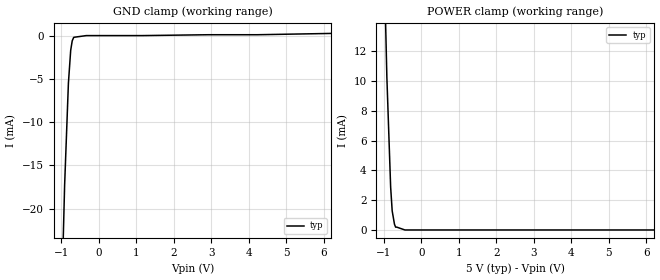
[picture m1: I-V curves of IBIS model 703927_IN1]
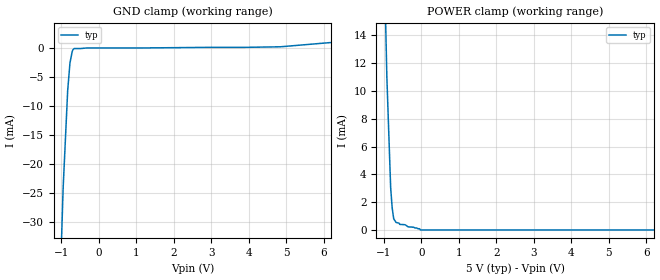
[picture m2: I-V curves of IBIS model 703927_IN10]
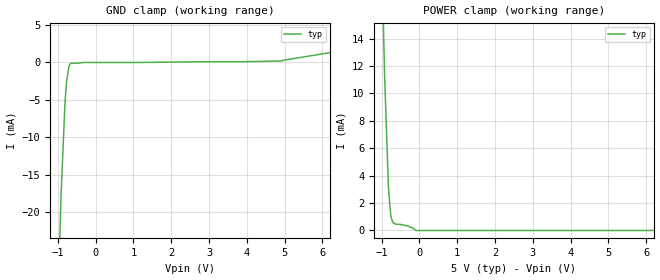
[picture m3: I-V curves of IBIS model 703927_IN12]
| YOU ARE ONLY AUTHORIZED TO USE THIS SOFTWARE
| ACCORDING TO LICENSOR'S LICENSE RESTRICTIONS.
[IBIS Ver] 3.1
[File Name] mc10ep195fa_5v_ecl.ibs
[File Rev] 2.0
[Source] Measured and created by ICX Technology
[Date] Friday 6/1/01 3:31:12 PM
[Copyright]
| (C) COPYRIGHT 1993-2001
| MENTOR GRAPHICS CORPORATION
| ICX STANDARD LIBRARY, ICX PROJECT MODELING,
| ICX CUSTOM MODELING, ICX VENDOR MODEL
| ALL RIGHTS RESERVED.
| THE FOLLOWING ARE TRADEMARKS OR SERVICE MARKS OF
| MENTOR GRAPHICS CORPORATION:ICX (R), ICX STANDARD
| LIBRARY(R), ICX PROJECT MODELING(R), ICX CUSTOM
| MODELING(R), qualityIBIS(TM), MODELVIEWER(TM),
| AND MODELEDITOR(TM)
| ALL COPIES OF SOFTWARE, INCLUDING BUT NOT LIMITED TO
| ANY MODIFICATIONS, ENHANCEMENTS OR DERIVATIVE WORKS,
| MUST CONTAIN ALL MENTOR GRAPHICS CORPORATION'S
| NOTICES AND LEGENDS, INCLUDING THOSE EMBEDDED IN
| SOFTWARE AND THOSE AFFIXED TO SOFTWARE MEDIUM
| AND CONTAINER, AS RECEIVED FROM MENTOR GRAPHICS
| CORPORATION.
|  ZAP Model Builder 3.1
[Component] MC10EP195FA_5v_ECL
[Manufacturer] OnSemico
[Package]
| variable   typ   min   max
R_pkg  .067ohms NA NA
L_pkg  4.211nH NA NA
C_pkg  1.002pF NA NA
[Pin] signal_name  model_name  R_pin  L_pin C_pin
1 D8 703927_IN1 .065 3.973n .928p
2 D9 703927_IN2 .066 4.127n .978p
3 D10 703927_IN1 .068 4.288n 1.027p
4 IN 703927_IN4 .069 4.455n 1.077p
5 _IN 703927_IN4 .069 4.455n 1.077p
6 VBB POWER .068 4.288n 1.027p
7 VEF NC .066 4.127n .978p
8 VCF NC .065 3.973n .928p
9 VEE GND .065 3.973n .928p
10 LEN 703927_IN10 .066 4.127n .978p
11 SETMIN 703927_IN12 .068 4.288n 1.027p
12 SETMAX 703927_IN12 .069 4.455n 1.077p
13 VCC POWER .069 4.455n 1.077p
14 _CASCADE 703927_OUT14 .068 4.288n 1.027p
15 CASCADE 703927_OUT14 .066 4.127n .978p
16 _EN 703927_IN16 .065 3.973n .928p
17 NC NC .065 3.973n .928p
18 VCC POWER .066 4.127n .978p
19 VCC POWER .068 4.288n 1.027p
20 _Q 703927_OUT20 .069 4.455n 1.077p
21 Q 703927_OUT21 .069 4.455n 1.077p
22 VCC POWER .068 4.288n 1.027p
23 D0 703927_IN25 .066 4.127n .978p
24 VEE GND .065 3.973n .928p
25 D1 703927_IN25 .065 3.973n .928p
26 D2 703927_IN25 .066 4.127n .978p
27 D3 703927_IN25 .068 4.288n 1.027p
28 VEE GND .069 4.455n 1.077p
29 D4 703927_IN29 .069 4.455n 1.077p
30 D5 703927_IN30 .068 4.288n 1.027p
31 D6 703927_IN29 .066 4.127n .978p
32 D7 703927_IN29 .065 3.973n .928p
[Diff Pin] inv_pin vdiff tdelay_typ tdelay_min tdelay_max
4 5 NA NA NA NA
15 14 NA NA NA NA
21 20 NA NA NA NA
| Models and submodels in the file (12): 703927_IN1 (Input_ECL), 703927_IN10 (Input_ECL), 703927_IN12 (Input_ECL), 703927_IN16 (Input_ECL), 703927_IN2 (Input_ECL), 703927_IN25 (Input_ECL), 703927_IN29 (Input_ECL), 703927_IN30 (Input_ECL), 703927_IN4 (Input_ECL), 703927_OUT14 (Output_ECL), 703927_OUT20 (Output_ECL), 703927_OUT21 (Output_ECL)
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| (C) COPYRIGHT 1993-2001
| MENTOR GRAPHICS CORPORATION
| ICX STANDARD LIBRARY, ICX PROJECT MODELING,
| ICX CUSTOM MODELING, ICX VENDOR MODEL
| ALL RIGHTS RESERVED.
| THE FOLLOWING ARE TRADEMARKS OR SERVICE MARKS OF
| MENTOR GRAPHICS CORPORATION:ICX (R), ICX STANDARD
| LIBRARY(R), ICX PROJECT MODELING(R), ICX CUSTOM
| MODELING(R), qualityIBIS(TM), MODELVIEWER(TM),
| AND MODELEDITOR(TM)
| ALL COPIES OF SOFTWARE, INCLUDING BUT NOT LIMITED TO
| ANY MODIFICATIONS, ENHANCEMENTS OR DERIVATIVE WORKS,
| MUST CONTAIN ALL MENTOR GRAPHICS CORPORATION'S
| NOTICES AND LEGENDS, INCLUDING THOSE EMBEDDED IN
| SOFTWARE AND THOSE AFFIXED TO SOFTWARE MEDIUM
| AND CONTAINER, AS RECEIVED FROM MENTOR GRAPHICS
| CORPORATION.
| Model Application Version 1.89 2/18/99.
[Model] 703927_IN1
Model_type Input_ECL
Vinl = 3.455V
Vinh = 3.855V
C_comp 4.000pF NA NA
| variable typ   min   max
[Voltage Range] 5.000V NA NA
[GND Clamp Reference] 0.000V NA NA
[POWER Clamp Reference] 5.000V NA NA
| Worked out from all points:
|   GND clamp passes 1 mA (typ) near -0.72 V on its own axis
|   POWER clamp passes 1 mA (typ) near -0.76 V on its own axis
[GND Clamp]
-5V       -869.3mA   NA         NA
-1.054V   -41.1mA    NA         NA
-912mV    -17.3mA    NA         NA
-811mV    -5.5mA     NA         NA
-750mV    -1.7mA     NA         NA
-709mV    -600uA     NA         NA
-669mV    -200uA     NA         NA
-334.5mV  0A         NA         NA
1.155V    0A         NA         NA
2.919V    100uA      NA         NA
4.226V    100uA      NA         NA
10V       541.6uA    NA         NA
[POWER Clamp]
-5V       544mA      NA         NA
-1.061V   25.56mA    NA         NA
-919mV    10.27mA    NA         NA
-818mV    2.878mA    NA         NA
-777mV    1.281mA    NA         NA
-716mV    386.1uA    NA         NA
-685.5mV  190.7uA    NA         NA
-655mV    190.7uA    NA         NA
-436.7mV  0A         NA         NA
10V       0A         NA         NA
| (C) COPYRIGHT 1993-2001
| MENTOR GRAPHICS CORPORATION
| ICX STANDARD LIBRARY, ICX PROJECT MODELING,
| ICX CUSTOM MODELING, ICX VENDOR MODEL
| ALL RIGHTS RESERVED.
| THE FOLLOWING ARE TRADEMARKS OR SERVICE MARKS OF
| MENTOR GRAPHICS CORPORATION:ICX (R), ICX STANDARD
| LIBRARY(R), ICX PROJECT MODELING(R), ICX CUSTOM
| MODELING(R), qualityIBIS(TM), MODELVIEWER(TM),
| AND MODELEDITOR(TM)
| ALL COPIES OF SOFTWARE, INCLUDING BUT NOT LIMITED TO
| ANY MODIFICATIONS, ENHANCEMENTS OR DERIVATIVE WORKS,
| MUST CONTAIN ALL MENTOR GRAPHICS CORPORATION'S
| NOTICES AND LEGENDS, INCLUDING THOSE EMBEDDED IN
| SOFTWARE AND THOSE AFFIXED TO SOFTWARE MEDIUM
| AND CONTAINER, AS RECEIVED FROM MENTOR GRAPHICS
| CORPORATION.
| Model Application Version 1.89 2/18/99.
[Model] 703927_IN10
Model_type Input_ECL
Vinl = 3.455V
Vinh = 3.855V
C_comp 4.000pF NA NA
| variable typ   min   max
[Voltage Range] 5.000V NA NA
[GND Clamp Reference] 0.000V NA NA
[POWER Clamp Reference] 5.000V NA NA
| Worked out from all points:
|   GND clamp passes 1 mA (typ) near -0.72 V on its own axis
|   POWER clamp passes 1 mA (typ) near -0.75 V on its own axis
[GND Clamp]
-5V       -1.039A    NA         NA
-1.115V   -58mA      NA         NA
-952mV    -24.2mA    NA         NA
-831mV    -7.4mA     NA         NA
-770mV    -2.6mA     NA         NA
-709mV    -600uA     NA         NA
-658.7mV  -100uA     NA         NA
4.844V    200uA      NA         NA
10V       3.017mA    NA         NA
[POWER Clamp]
-5V       619.5mA    NA         NA
-1.081V   30.62mA    NA         NA
-919mV    11.01mA    NA         NA
-818mV    3.068mA    NA         NA
-777mV    1.59mA     NA         NA
-737mV    812uA      NA         NA
-676mV    545.4uA    NA         NA
-574mV    401.1uA    NA         NA
-433mV    378.1uA    NA         NA
-351mV    223uA      NA         NA
-23.5mV   0A         NA         NA
10V       0A         NA         NA
| (C) COPYRIGHT 1993-2001
| MENTOR GRAPHICS CORPORATION
| ICX STANDARD LIBRARY, ICX PROJECT MODELING,
| ICX CUSTOM MODELING, ICX VENDOR MODEL
| ALL RIGHTS RESERVED.
| THE FOLLOWING ARE TRADEMARKS OR SERVICE MARKS OF
| MENTOR GRAPHICS CORPORATION:ICX (R), ICX STANDARD
| LIBRARY(R), ICX PROJECT MODELING(R), ICX CUSTOM
| MODELING(R), qualityIBIS(TM), MODELVIEWER(TM),
| AND MODELEDITOR(TM)
| ALL COPIES OF SOFTWARE, INCLUDING BUT NOT LIMITED TO
| ANY MODIFICATIONS, ENHANCEMENTS OR DERIVATIVE WORKS,
| MUST CONTAIN ALL MENTOR GRAPHICS CORPORATION'S
| NOTICES AND LEGENDS, INCLUDING THOSE EMBEDDED IN
| SOFTWARE AND THOSE AFFIXED TO SOFTWARE MEDIUM
| AND CONTAINER, AS RECEIVED FROM MENTOR GRAPHICS
| CORPORATION.
| Model Application Version 1.89 2/18/99.
[Model] 703927_IN12
Model_type Input_ECL
Vinl = 3.455V
Vinh = 3.855V
C_comp 4.000pF NA NA
| variable typ   min   max
[Voltage Range] 5.000V NA NA
[GND Clamp Reference] 0.000V NA NA
[POWER Clamp Reference] 5.000V NA NA
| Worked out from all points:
|   GND clamp passes 1 mA (typ) near -0.72 V on its own axis
|   POWER clamp passes 1 mA (typ) near -0.75 V on its own axis
[GND Clamp]
-5V       -940.7mA   NA         NA
-1.034V   -38.5mA    NA         NA
-912mV    -17.4mA    NA         NA
-811mV    -5.4mA     NA         NA
-770mV    -2.6mA     NA         NA
-709mV    -600uA     NA         NA
-689mV    -300uA     NA         NA
-658.7mV  -100uA     NA         NA
-314.2mV  0A         NA         NA
4.915V    200uA      NA         NA
10V       4.426mA    NA         NA
[POWER Clamp]
-5V       615.6mA    NA         NA
-1.02V    22.94mA    NA         NA
-919mV    11.22mA    NA         NA
-818mV    3.102mA    NA         NA
-757mV    1.052mA    NA         NA
-716mV    685.2uA    NA         NA
-685.5mV  535.2uA    NA         NA
-635mV    451.6uA    NA         NA
-290mV    334.4uA    NA         NA
-189mV    217.2uA    NA         NA
-94.5mV   0A         NA         NA
10V       0A         NA         NA
